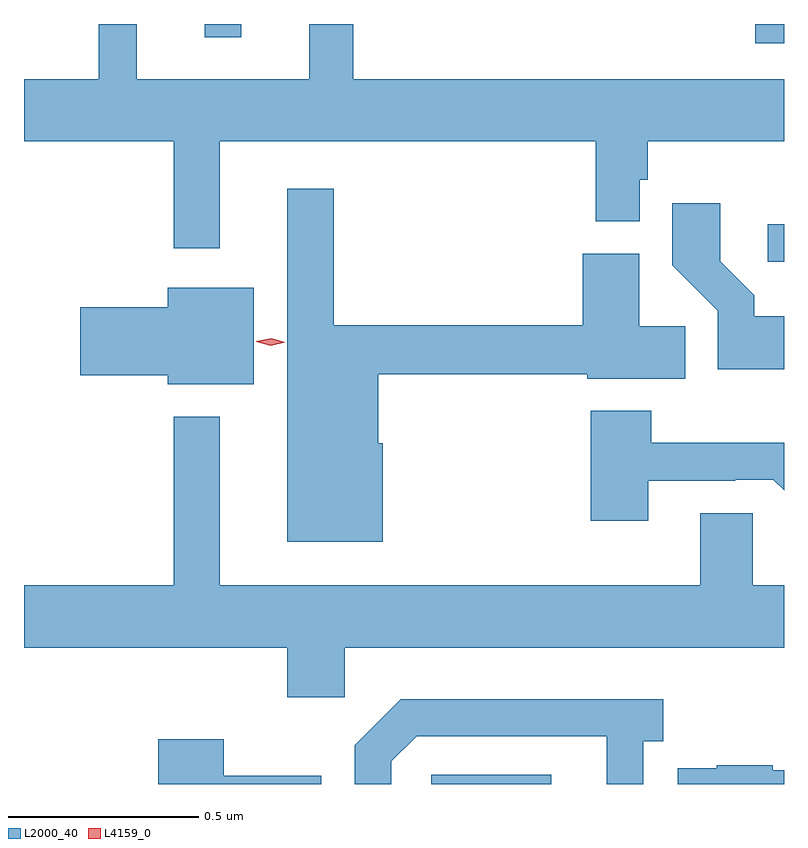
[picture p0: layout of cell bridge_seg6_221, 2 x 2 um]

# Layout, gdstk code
import gdstk
lib = gdstk.Library(unit=1e-6, precision=1e-09)
def R(c, l, rs):  # rectangles x0, y0, x1, y1
    for r in rs: c.add(gdstk.rectangle(r[:2], r[2:], *l))
def P(c, l, *ps):  # polygons
    for p in ps: c.add(gdstk.Polygon(p, *l))
L2000_40 = (2000, 40)
L4159_0 = (4159, 0)

bridge_seg6_221 = lib.new_cell('bridge_seg6_221')
R(bridge_seg6_221, L2000_40, [(154.29,924.333,154.606,924.357), (155.175,925.707,155.218,925.806), (155.142,926.282,155.218,926.333), (153.693,926.298,153.79,926.333)])
P(bridge_seg6_221, L2000_40, [(153.733,926.024),(154.723,926.024),(154.723,925.814),(154.839,925.814),(154.839,925.923),(154.859,925.923),(154.859,926.024),(155.218,926.024),(155.218,926.188),(154.085,926.188),(154.085,926.333),(153.968,926.333),(153.968,926.188),(153.515,926.188),(153.515,926.333),(153.415,926.333),(153.415,926.188),(153.218,926.188),(153.218,926.024),(153.612,926.024),(153.612,925.743),(153.733,925.743)],
  [(154.162,925.23),(154.15,925.23),(154.15,925.411),(154.7,925.411),(154.7,925.4),(154.958,925.4),(154.958,925.538),(154.837,925.538),(154.837,925.729),(154.688,925.729),(154.688,925.54),(154.033,925.54),(154.033,925.9),(153.911,925.9),(153.911,924.971),(154.162,924.971)],
  [(155.218,925.564),(155.14,925.564),(155.14,925.619),(155.05,925.709),(155.05,925.861),(154.924,925.861),(154.924,925.698),(155.043,925.579),(155.043,925.424),(155.218,925.424)],
  [(153.823,925.639),(153.596,925.639),(153.596,925.587),(153.366,925.587),(153.366,925.409),(153.596,925.409),(153.596,925.385),(153.823,925.385)],
  [(154.861,925.131),(155.09,925.131),(155.09,925.134),(155.19,925.134),(155.218,925.106),(155.218,925.231),(154.869,925.231),(154.869,925.315),(154.709,925.315),(154.709,925.026),(154.861,925.026)],
  [(154.062,924.692),(155.218,924.692),(155.218,924.856),(155.136,924.856),(155.136,925.046),(154.997,925.046),(154.997,924.856),(153.733,924.856),(153.733,925.3),(153.612,925.3),(153.612,924.856),(153.218,924.856),(153.218,924.692),(153.911,924.692),(153.911,924.561),(154.062,924.561)],
  [(154.185,924.393),(154.251,924.459),(154.751,924.459),(154.751,924.333),(154.848,924.333),(154.848,924.446),(154.9,924.446),(154.9,924.556),(154.21,924.556),(154.089,924.435),(154.089,924.333),(154.185,924.333)],
  [(154,924.355),(153.744,924.355),(153.744,924.451),(153.571,924.451),(153.571,924.333),(154,924.333)],
  [(155.218,924.369),(155.189,924.369),(155.189,924.382),(155.041,924.382),(155.041,924.375),(154.939,924.375),(154.939,924.333),(155.218,924.333)])
P(bridge_seg6_221, L4159_0, [(153.867,925.486),(153.829,925.497),(153.829,925.498),(153.829,925.498),(153.868,925.506),(153.906,925.495),(153.906,925.495),(153.906,925.495)])

lib.write_gds('bridge_seg6_221.gds')
